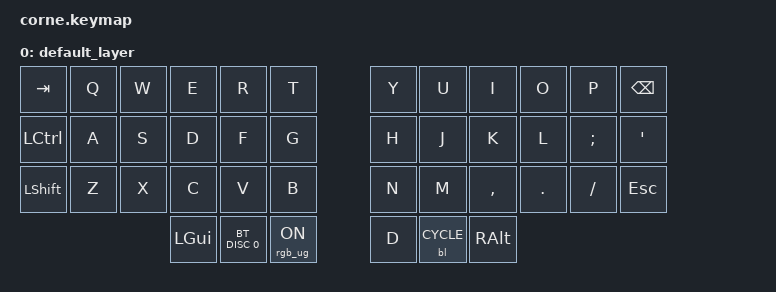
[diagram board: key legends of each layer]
#include <behaviors.dtsi>
#include <dt-bindings/zmk/backlight.h>
#include <dt-bindings/zmk/bt.h>
#include <dt-bindings/zmk/keys.h>
#include <dt-bindings/zmk/rgb.h>

/ {
    keymap {
        compatible = "zmk,keymap";

        default_layer {
            bindings = <
&kp TAB    &kp Q  &kp W  &kp E     &kp R          &kp T             &kp Y  &kp U         &kp I      &kp O    &kp P     &kp BKSP
&kp LCTRL  &kp A  &kp S  &kp D     &kp F          &kp G             &kp H  &kp J         &kp K      &kp L    &kp SEMI  &kp SQT
&kp LSHFT  &kp Z  &kp X  &kp C     &kp V          &kp B             &kp N  &kp M         &kp COMMA  &kp DOT  &kp FSLH  &kp ESC
                         &kp LGUI  &bt BT_DISC 0  &rgb_ug RGB_ON    &kp D  &bl BL_CYCLE  &kp RALT
            >;
        };
    };
};
